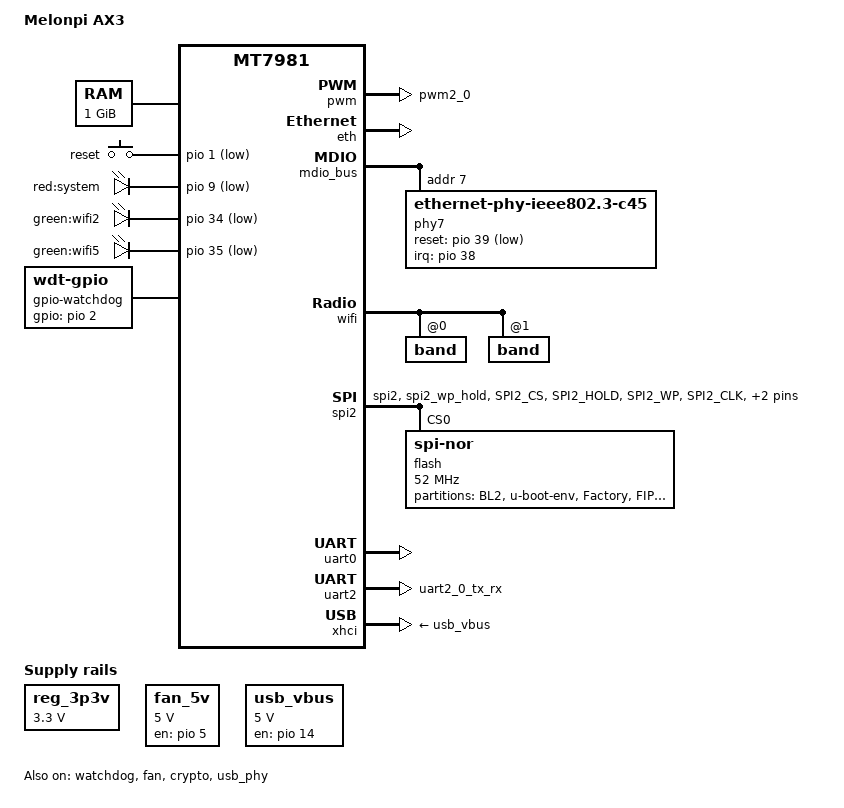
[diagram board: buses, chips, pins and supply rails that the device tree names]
// SPDX-License-Identifier: GPL-2.0-or-later OR MIT

/dts-v1/;
#include "mt7981b.dtsi"

/ {
	model = "Melonpi AX3";
	compatible = "melonpi,ax3", "mediatek,mt7981";

	aliases {
		ethernet0 = &gmac1;
		label-mac-device = &gmac0;
		led-boot = &led_sys;
		led-failsafe = &led_sys;
		led-running = &led_sys;
		led-upgrade = &led_sys;
		serial0 = &uart0;
	};

	chosen {
		stdout-path = "serial0:115200n8";
		bootargs = "console=ttyS0,115200n1 earlycon=uart8250,mmio32,0x11002000";
		rootdisk = <&firmware>;
	};

	memory@40000000 {
		reg = <0 0x40000000 0 0x40000000>;
		device_type = "memory";
	};

	reg_3p3v: regulator-3p3v {
		compatible = "regulator-fixed";
		regulator-name = "fixed-3.3V";
		regulator-min-microvolt = <3300000>;
		regulator-max-microvolt = <3300000>;
		regulator-boot-on;
		regulator-always-on;
	};

	fan_5v: regulator-fan-5v {
		compatible = "regulator-fixed";
		regulator-name = "fan";
		regulator-min-microvolt = <5000000>;
		regulator-max-microvolt = <5000000>;
		gpios = <&pio 5 GPIO_ACTIVE_HIGH>;
		enable-active-high;
		regulator-boot-on;
	};

	usb_vbus: regulator-usb-vbus {
		compatible = "regulator-fixed";
		regulator-name = "usb_vbus";
		regulator-min-microvolt = <5000000>;
		regulator-max-microvolt = <5000000>;
		gpios = <&pio 14 GPIO_ACTIVE_HIGH>;
		enable-active-high;
		regulator-boot-on;
	};

	gpio-keys {
		compatible = "gpio-keys";

		reset {
			label = "reset";
			linux,code = <KEY_RESTART>;
			gpios = <&pio 1 GPIO_ACTIVE_LOW>;
		};
	};

	leds {
		compatible = "gpio-leds";

		led_sys: sys {
			label = "red:system";
			gpios = <&pio 9 GPIO_ACTIVE_LOW>;
		};

		wifi2 {
			label = "green:wifi2";
			gpios = <&pio 34 GPIO_ACTIVE_LOW>;
		};

		wifi5 {
			label = "green:wifi5";
			gpios = <&pio 35 GPIO_ACTIVE_LOW>;
		};
	};

	gpio-watchdog {
		compatible = "linux,wdt-gpio";
		gpios = <&pio 2 GPIO_ACTIVE_HIGH>;
		hw_algo = "toggle";
		hw_margin_ms = <25000>;
		always-running;
	};
};

&watchdog {
	status = "okay";
};

&mmc0 {
	status = "disabled";

	#address-cells = <1>;
	#size-cells = <0>;
	pinctrl-names = "default", "state_uhs";
	pinctrl-0 = <&mmc0_pins_default>;
	pinctrl-1 = <&mmc0_pins_uhs>;
	bus-width = <4>;
	max-frequency = <50000000>;
	cap-sd-highspeed;
	vmmc-supply = <&reg_3p3v>;
	vqmmc-supply = <&reg_3p3v>;
	no-mmc;
	no-sdio;
};

&pwm {
	pinctrl-names = "default";
	pinctrl-0 = <&pwm_pins>;
	status = "okay";
};

&fan {
	fan-supply = <&fan_5v>;
	interrupt-parent = <&pio>;
	interrupts = <6 IRQ_TYPE_EDGE_RISING>;
	pwms = <&pwm 2 40000 0>;
	status = "okay";
};

&eth {
	pinctrl-names = "default";
	pinctrl-0 = <&mdio_pins>;
	status = "okay";

	gmac0: mac@0 {
		compatible = "mediatek,eth-mac";
		reg = <0>;
		phy-handle = <&phy7>;
		phy-mode = "2500base-x";
		nvmem-cell-names = "mac-address";
		nvmem-cells = <&macaddr_factory_24>;
	};

	gmac1: mac@1 {
		compatible = "mediatek,eth-mac";
		reg = <1>;
		phy-mode = "gmii";
		phy-handle = <&int_gbe_phy>;
	};
};

&mdio_bus {
	phy7: ethernet-phy@7 {
		compatible = "ethernet-phy-ieee802.3-c45";
		reg = <7>;
		interrupt-parent = <&pio>;
		interrupts = <38 IRQ_TYPE_EDGE_FALLING>;
		reset-gpios = <&pio 39 GPIO_ACTIVE_LOW>;
		reset-assert-us = <10000>;
		reset-deassert-us = <20000>;
	};
};

&crypto {
	status = "okay";
};

&wifi {
	#address-cells = <1>;
	#size-cells = <0>;
	nvmem-cells = <&eeprom_factory_0>;
	nvmem-cell-names = "eeprom";
	status = "okay";

	band@0 {
		reg = <0>;
		nvmem-cells = <&macaddr_factory_4 0>;
		nvmem-cell-names = "mac-address";
	};

	band@1 {
		reg = <1>;
		nvmem-cells = <&macaddr_factory_4 7>;
		nvmem-cell-names = "mac-address";
	};
};

&spi2 {
	pinctrl-names = "default";
	pinctrl-0 = <&spi2_flash_pins>;
	status = "okay";

	flash@0 {
		#address-cells = <1>;
		#size-cells = <1>;
		compatible = "jedec,spi-nor";
		reg = <0>;

		spi-max-frequency = <52000000>;

		partitions {
			compatible = "fixed-partitions";
			#address-cells = <1>;
			#size-cells = <1>;

			partition@0 {
				label = "BL2";
				reg = <0x00000 0x0040000>;
				read-only;
			};

			partition@40000 {
				label = "u-boot-env";
				reg = <0x40000 0x0010000>;
			};

			factory: partition@50000 {
				label = "Factory";
				reg = <0x50000 0x00B0000>;
				read-only;

				nvmem-layout {
					compatible = "fixed-layout";
					#address-cells = <1>;
					#size-cells = <1>;

					eeprom_factory_0: eeprom@0 {
						reg = <0x0 0x1000>;
					};

					macaddr_factory_4: macaddr@4 {
						reg = <0x4 0x6>;
						compatible = "mac-base";
						#nvmem-cell-cells = <1>;
					};

					macaddr_factory_24: macaddr@24 {
						reg = <0x24 0x6>;
						compatible = "mac-base";
					};
				};
			};

			partition@100000 {
				label = "FIP";
				reg = <0x100000 0x0080000>;
				read-only;
			};

			firmware: partition@180000 {
				label = "firmware";
				reg = <0x180000 0x1E80000>;
			};
		};
	};
};

&pio {
	pwm_pins: pwm-pins {
		mux {
			function = "pwm";
			groups = "pwm2_0";
		};
	};

	uart1_pins: uart1-pins {
		mux {
			function = "uart";
			groups = "uart1_0";
		};
	};

	mmc0_pins_default: mmc0-pins-default {
		mux {
			function = "flash";
			groups = "emmc_45";
		};
		conf-cmd-dat {
			pins = "SPI0_CLK", "SPI0_MOSI", "SPI0_MISO",
				"SPI0_CS",  "SPI0_HOLD", "SPI0_WP",
				"SPI1_CLK", "SPI1_MOSI", "SPI1_MISO";
			input-enable;
			drive-strength = <MTK_DRIVE_4mA>;
			bias-pull-up = <MTK_PUPD_SET_R1R0_01>;
		};
		conf-clk {
			pins = "SPI1_CS";
			drive-strength = <MTK_DRIVE_8mA>;
			bias-pull-down = <MTK_PUPD_SET_R1R0_10>;
		};
		conf-rst {
			pins = "PWM2";
			drive-strength = <MTK_DRIVE_4mA>;
			bias-pull-up = <MTK_PUPD_SET_R1R0_01>;
		};
	};

	mmc0_pins_uhs: mmc0-pins-uhs {
		mux {
			function = "flash";
			groups = "emmc_45";
		};
		conf-cmd-dat {
			pins = "SPI0_CLK", "SPI0_MOSI", "SPI0_MISO",
				"SPI0_CS",  "SPI0_HOLD", "SPI0_WP",
				"SPI1_CLK", "SPI1_MOSI", "SPI1_MISO";
			input-enable;
			drive-strength = <MTK_DRIVE_4mA>;
			bias-pull-up = <MTK_PUPD_SET_R1R0_01>;
		};
		conf-clk {
			pins = "SPI1_CS";
			drive-strength = <MTK_DRIVE_8mA>;
			bias-pull-down = <MTK_PUPD_SET_R1R0_10>;
		};
		conf-rst {
			pins = "PWM2";
			drive-strength = <MTK_DRIVE_4mA>;
			bias-pull-up = <MTK_PUPD_SET_R1R0_01>;
		};
	};

	uart2_pins: uart2-pins {
		mux {
			function = "uart";
			groups = "uart2_0_tx_rx";
		};
	};

	spi2_flash_pins: spi2-pins {
		mux {
			function = "spi";
			groups = "spi2", "spi2_wp_hold";
		};
		conf-pu {
			pins = "SPI2_CS", "SPI2_HOLD", "SPI2_WP";
			drive-strength = <MTK_DRIVE_8mA>;
			bias-pull-up = <MTK_PUPD_SET_R1R0_11>;
		};
		conf-pd {
			pins = "SPI2_CLK", "SPI2_MOSI", "SPI2_MISO";
			drive-strength = <MTK_DRIVE_8mA>;
			bias-pull-down = <MTK_PUPD_SET_R1R0_11>;
		};
	};
};

&uart0 {
	status = "okay";
};

&uart1 {
	pinctrl-names = "default";
	pinctrl-0 = <&uart1_pins>;
	status = "disabled";
};

&uart2 {
	pinctrl-names = "default";
	pinctrl-0 = <&uart2_pins>;
	status = "okay";
};

&usb_phy {
	status = "okay";
};

&xhci {
	vbus-supply = <&usb_vbus>;

	status = "okay";
};

&sgmiisys0 {
	/delete-node/ mediatek,pnswap;
};
